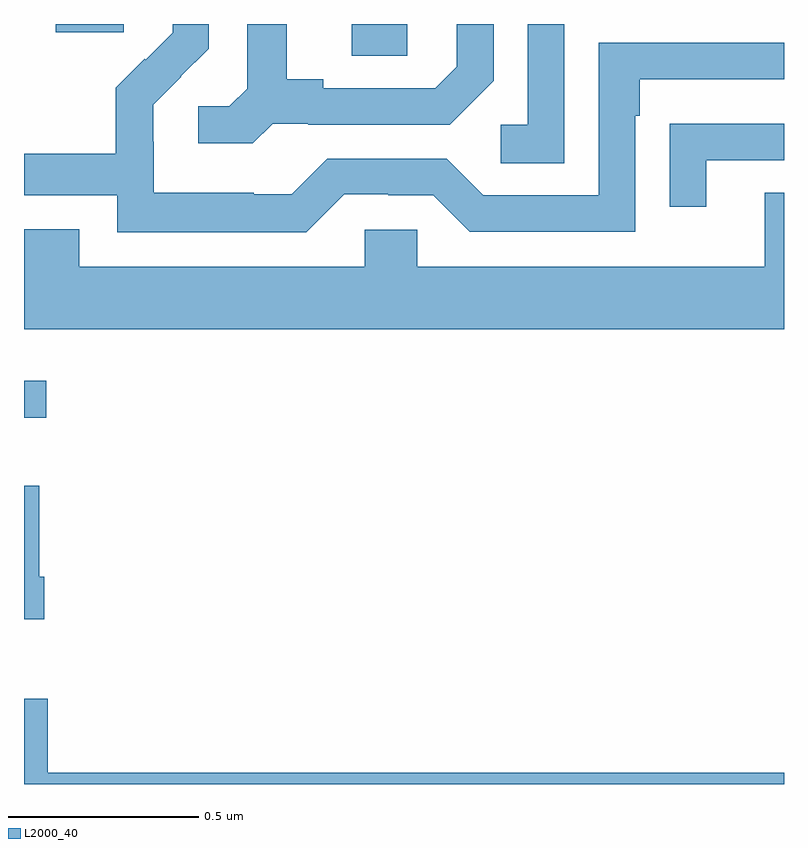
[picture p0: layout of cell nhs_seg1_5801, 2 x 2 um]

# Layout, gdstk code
import gdstk
lib = gdstk.Library(unit=1e-6, precision=1e-09)
def R(c, l, rs):  # rectangles x0, y0, x1, y1
    for r in rs: c.add(gdstk.rectangle(r[:2], r[2:], *l))
def P(c, l, *ps):  # polygons
    for p in ps: c.add(gdstk.Polygon(p, *l))
L2000_40 = (2000, 40)

nhs_seg1_5801 = lib.new_cell('nhs_seg1_5801')
R(nhs_seg1_5801, L2000_40, [(183,554.163,183.058,554.26), (183.863,555.115,184.008,555.199), (183.083,555.177,183.262,555.199)])
P(nhs_seg1_5801, L2000_40, [(183.654,554.937),(183.748,554.937),(183.748,554.934),(184.12,554.934),(184.236,555.05),(184.236,555.199),(184.139,555.199),(184.139,555.087),(184.082,555.03),(183.787,555.03),(183.787,555.053),(183.691,555.053),(183.691,555.199),(183.587,555.199),(183.587,555.029),(183.54,554.982),(183.459,554.982),(183.459,554.885),(183.602,554.885)],
  [(184.422,555.199),(184.326,555.199),(184.326,554.934),(184.254,554.934),(184.254,554.833),(184.422,554.833)],
  [(183.843,554.751),(183.959,554.751),(183.959,554.748),(184.077,554.748),(184.173,554.652),(184.608,554.652),(184.608,554.957),(184.621,554.957),(184.621,555.054),(185,555.054),(185,555.15),(184.512,555.15),(184.512,554.748),(184.209,554.748),(184.113,554.844),(183.798,554.844),(183.705,554.751),(183.605,554.751),(183.605,554.755),(183.342,554.755),(183.342,554.889),(183.34,554.889),(183.34,554.986),(183.414,555.06),(183.413,555.061),(183.486,555.134),(183.486,555.199),(183.392,555.199),(183.392,555.176),(183.321,555.105),(183.318,555.108),(183.241,555.031),(183.241,554.857),(183,554.857),(183,554.748),(183.246,554.748),(183.246,554.651),(183.743,554.651)],
  [(184.795,554.841),(185,554.841),(185,554.937),(184.801,554.937),(184.801,554.936),(184.699,554.936),(184.699,554.718),(184.795,554.718)],
  [(185,554.755),(184.949,554.755),(184.949,554.56),(184.035,554.56),(184.035,554.658),(183.897,554.658),(183.897,554.56),(183.145,554.56),(183.145,554.659),(183,554.659),(183,554.396),(185,554.396)],
  [(183.053,553.744),(183.04,553.744),(183.04,553.984),(183,553.984),(183,553.632),(183.053,553.632)],
  [(185,553.228),(183.062,553.228),(183.062,553.423),(183,553.423),(183,553.199),(185,553.199)])

lib.write_gds('nhs_seg1_5801.gds')
